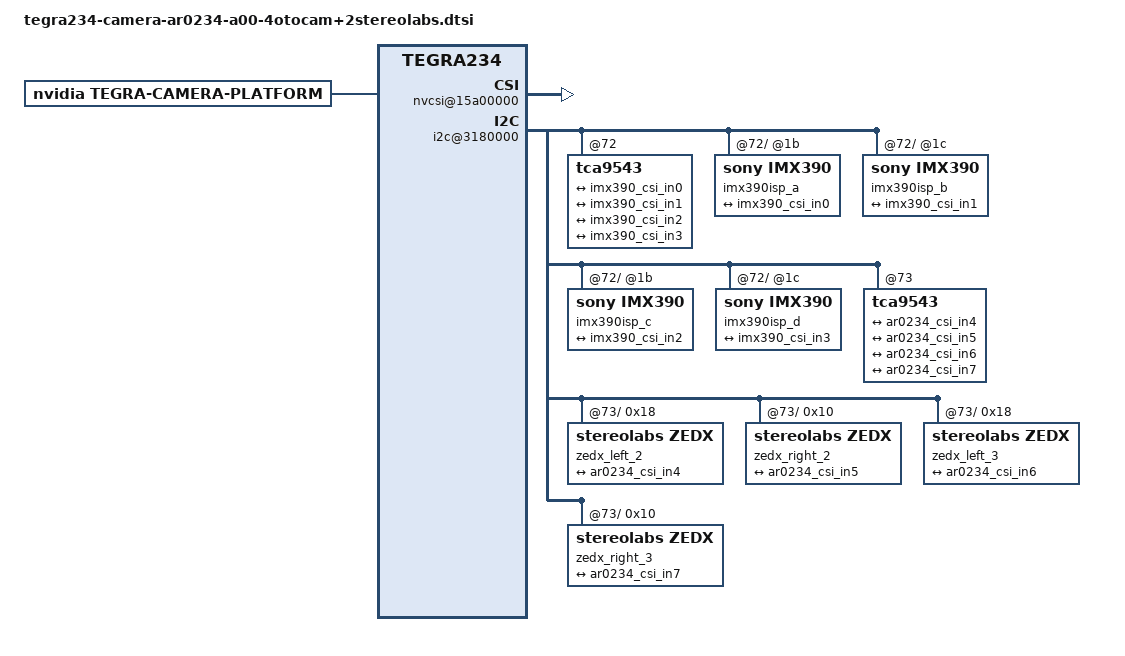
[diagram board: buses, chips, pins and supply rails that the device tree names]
/*
 * Copyright (c) 2018-2023, NVIDIA CORPORATION.  All rights reserved.
 *
 * This program is free software; you can redistribute it and/or modify
 * it under the terms of the GNU General Public License as published by
 * the Free Software Foundation; either version 2 of the License, or
 * (at your option) any later version.
 *
 * This program is distributed in the hope that it will be useful, but WITHOUT
 * ANY WARRANTY; without even the implied warranty of MERCHANTABILITY or
 * FITNESS FOR A PARTICULAR PURPOSE.  See the GNU General Public License for
 * more details.
 *
 * You should have received a copy of the GNU General Public License
 * along with this program.  If not, see <http://www.gnu.org/licenses/>.
 */

/ {
	tegra-capture-vi {
			status = "okay";
			num-channels = <8>;
			ports {
				#address-cells = <1>;
				#size-cells = <0>;
				status = "okay";
				port@0 {
					reg = <0>;
					imx390_vi_in0: endpoint {
						vc-id = <0>;
						port-index = <0>;
						bus-width = <4>;
						remote-endpoint = <&imx390_csi_out0>;
					};
				};
				port@1 {
					reg = <1>;
					imx390_vi_in1: endpoint {
						vc-id = <1>;
						port-index = <0>;
						bus-width = <4>;
						remote-endpoint = <&imx390_csi_out1>;
					};
				};
				port@2 {
					reg = <2>;
					imx390_vi_in2: endpoint {
						vc-id = <0>;
						port-index = <2>;
						bus-width = <4>;
						remote-endpoint = <&imx390_csi_out2>;
					};
				};
				port@3 {
					reg = <3>;
					imx390_vi_in3: endpoint {
						vc-id = <1>;
						port-index = <2>;
						bus-width = <4>;
						remote-endpoint = <&imx390_csi_out3>;
					};
				};
				port@4 {
					reg = <4>;
					ar0234_vi_in4: endpoint {
						status = "okay";
						vc-id = <0>;
						port-index = <4>;
						bus-width = <2>;
						remote-endpoint = <&ar0234_csi_out4>;
					};
				};
				port@5 {
					reg = <5>;
					ar0234_vi_in5: endpoint {
						status = "okay";
						vc-id = <1>;
						port-index = <4>;
						bus-width = <2>;
						remote-endpoint = <&ar0234_csi_out5>;
					};
				};
				port@6 {
					reg = <6>;
					ar0234_vi_in6: endpoint {
						status = "okay";
						vc-id = <0>;
						port-index = <5>;
						bus-width = <2>;
						remote-endpoint = <&ar0234_csi_out6>;
					};
				};
				port@7 {
					reg = <7>;
					ar0234_vi_in7: endpoint {
						status = "okay";
						vc-id = <1>;
						port-index = <5>;
						bus-width = <2>;
						remote-endpoint = <&ar0234_csi_out7>;
					};
				};
			};
		};

	host1x@13e00000 {
		nvcsi@15a00000 {
			status = "okay";
			num-channels = <8>;
			#address-cells = <1>;
			#size-cells = <0>;
			channel@0 {
				reg = <0>;
				ports {
					#address-cells = <1>;
					#size-cells = <0>;
					port@0 {
						reg = <0>;
						imx390_csi_in0: endpoint@0 {
							port-index = <0>;
							bus-width = <4>;
							remote-endpoint = <&imx390_out0>;
						};
					};
					port@1 {
						reg = <1>;
						imx390_csi_out0: endpoint@1 {
							remote-endpoint = <&imx390_vi_in0>;
						};
					};
				};
			};
			channel@1 {
				reg = <1>;
				ports {
					#address-cells = <1>;
					#size-cells = <0>;
					port@0 {
						reg = <0>;
						imx390_csi_in1: endpoint@2 {
							port-index = <0>;
							bus-width = <4>;
							remote-endpoint = <&imx390_out1>;
						};
					};
					port@1 {
						reg = <1>;
						imx390_csi_out1: endpoint@3 {
							remote-endpoint = <&imx390_vi_in1>;
						};
					};
				};
			};
			channel@2 {
				reg = <2>;
				ports {
					#address-cells = <1>;
					#size-cells = <0>;
					port@0 {
						reg = <0>;
						imx390_csi_in2: endpoint@4 {
							port-index = <2>;
							bus-width = <4>;
							remote-endpoint = <&imx390_out2>;
						};
					};
					port@1 {
						reg = <1>;
						imx390_csi_out2: endpoint@5 {
							remote-endpoint = <&imx390_vi_in2>;
						};
					};
				};
			};
			channel@3 {
				reg = <3>;
				ports {
					#address-cells = <1>;
					#size-cells = <0>;
					port@0 {
						reg = <0>;
						imx390_csi_in3: endpoint@6 {
							port-index = <2>;
							bus-width = <4>;
							remote-endpoint = <&imx390_out3>;
						};
					};
					port@1 {
						reg = <1>;
						imx390_csi_out3: endpoint@7 {
							remote-endpoint = <&imx390_vi_in3>;
						};
					};
				};
			};
			channel@4 {
				reg = <4>;
				ports {
				#address-cells = <1>;
				#size-cells = <0>;
					port@0 {
						reg = <0>;
						ar0234_csi_in4: endpoint@8 {
							status = "okay";
							port-index = <4>;
							bus-width = <2>;
							remote-endpoint = <&ar0234_ar0234_out4>;
						};
					};
					port@1 {
						reg = <1>;
						ar0234_csi_out4: endpoint@9 {
							status = "okay";
							remote-endpoint = <&ar0234_vi_in4>;
						};
					};
				};
			};
			channel@5 {
				reg = <5>;
				ports {
				#address-cells = <1>;
				#size-cells = <0>;
					port@0 {
						reg = <0>;
						ar0234_csi_in5: endpoint@10 {
						status = "okay";
						port-index = <4>;
						bus-width = <2>;
						remote-endpoint = <&ar0234_ar0234_out5>;
						};
					};
					port@1 {
						reg = <1>;
						ar0234_csi_out5: endpoint@11 {
						status = "okay";
						remote-endpoint = <&ar0234_vi_in5>;
						};
					};
				};
			};
			channel@6 {
				reg = <6>;
				ports {
					#address-cells = <1>;
					#size-cells = <0>;
					port@0 {
						reg = <0>;
						ar0234_csi_in6: endpoint@12 {
							status = "okay";
							port-index = <5>;
							bus-width = <2>;
							remote-endpoint = <&ar0234_ar0234_out6>;
						};
					};
					port@1 {
						reg = <1>;
						ar0234_csi_out6: endpoint@13 {
							status = "okay";
							remote-endpoint = <&ar0234_vi_in6>;
						};
					};
				};
			};
			channel@7 {
				reg = <7>;
				ports {
					#address-cells = <1>;
					#size-cells = <0>;
					port@0 {
						reg = <0>;
						ar0234_csi_in7: endpoint@14 {
							status = "okay";
							port-index = <5>;
							bus-width = <2>;
							remote-endpoint = <&ar0234_ar0234_out7>;
						};
					};
					port@1 {
						reg = <1>;
						ar0234_csi_out7: endpoint@15 {
							status = "okay";
							remote-endpoint = <&ar0234_vi_in7>;
						};
					};
				};
			};
		};
	};

	i2c@3180000 {
		tca9543@72 {
		i2c@0 {
		imx390isp_a@1b {
				compatible = "sony,imx390","nvidia,imx390isp";

				def-addr = <0x6d>;	

				/* Physical dimensions of sensor */
				physical_w = "15.0";
				physical_h = "12.5";

				sensor_model ="imx390isp";

				/* Defines number of frames to be dropped by driver internally after applying */
				/* sensor crop settings. Some sensors send corrupt frames after applying */
				/* crop co-ordinates */
				post_crop_frame_drop = "0";

				/* Convert Gain to unit of dB (decibel) befor passing to kernel driver */
				//use_decibel_gain = "true";	// FIX:?

				/* enable CID_SENSOR_MODE_ID for sensor modes selection */
				use_sensor_mode_id = "true";
				mode0 {
					mclk_khz = "24000";
					tegra_sinterface = "serial_a";
					vc_id = "0";
					num_lanes = "4";
					discontinuous_clk = "no";
					dpcm_enable = "false";
					cil_settletime = "0";
					mode_type = "yuv";
					pixel_phase = "uyvy";
					csi_pixel_bit_depth = "16";
					dynamic_pixel_bit_depth = "16";

					active_w = "1920";
					active_h = "1080";
					readout_orientation = "0";
					line_length = "2200";
					inherent_gain = "1";
					pix_clk_hz = "374000000";	
					//pix_clk_hz = "74250000";//test


					gain_factor = "10";
					min_gain_val = "0"; /* dB */
					max_gain_val = "300"; /* dB */
					step_gain_val = "3"; /* 0.3 */
					default_gain = "0";
					min_hdr_ratio = "1";
					max_hdr_ratio = "1";
					framerate_factor = "1000000";
					min_framerate = "30000000";
					max_framerate = "30000000";
					step_framerate = "1";
					default_framerate = "30000000";
					exposure_factor = "1000000";
					min_exp_time = "59"; /*us, 2 lines*/
					max_exp_time = "33333";
					step_exp_time = "1";
					default_exp_time = "33333";/* us */
					embedded_metadata_height = "0";
					
				};
				ports {
					#address-cells = <1>;
					#size-cells = <0>;
					port@0 {
						reg = <0>;
						imx390_out0: endpoint {
							vc-id = <0>;
							port-index = <0>;
							bus-width = <4>;
							remote-endpoint = <&imx390_csi_in0>;
						};
					};
				};
				gmsl-link {
					src-csi-port = "b";
					dst-csi-port = "a";
					serdes-csi-link = "a";
					csi-mode = "1x4";
					st-vc = <0>;
					vc-id = <0>;
					num-lanes = <4>;
					streams = "ued-u1","yuv8";	// FIX:*
					//streams = "ued-u1", "raw12";	// FIX:-
				};
			};


			imx390isp_b@1c{
				compatible = "sony,imx390","nvidia,imx390isp";

				def-addr = <0x6d>;	// FIX:+
				//reg = <0x1b>;	// FIX:-

				/* Physical dimensions of sensor */
				physical_w = "15.0";
				physical_h = "12.5";

				sensor_model ="imx390isp";

				/* Defines number of frames to be dropped by driver internally after applying */
				/* sensor crop settings. Some sensors send corrupt frames after applying */
				/* crop co-ordinates */
				post_crop_frame_drop = "0";

				/* Convert Gain to unit of dB (decibel) befor passing to kernel driver */
				//use_decibel_gain = "true";	// FIX:?

				/* enable CID_SENSOR_MODE_ID for sensor modes selection */
				use_sensor_mode_id = "true";
				mode0 {
					
					tegra_sinterface = "serial_a";
					vc_id = "1";
					mclk_khz = "24000";
					num_lanes = "4";
					discontinuous_clk = "no";
					dpcm_enable = "false";
					cil_settletime = "0";
					mode_type = "yuv";
					pixel_phase = "uyvy";
					csi_pixel_bit_depth = "16";
					dynamic_pixel_bit_depth = "16";
					
					active_w = "1920";
					active_h = "1080";
					readout_orientation = "0";
					line_length = "2200";
					inherent_gain = "1";
					pix_clk_hz = "374000000";	// FIX:* 74250000

					gain_factor = "10";
					min_gain_val = "0"; /* dB */
					max_gain_val = "300"; /* dB */
					step_gain_val = "3"; /* 0.3 */
					default_gain = "0";
					min_hdr_ratio = "1";
					max_hdr_ratio = "1";
					framerate_factor = "1000000";
					min_framerate = "30000000";
					max_framerate = "30000000";
					step_framerate = "1";
					default_framerate = "30000000";
					exposure_factor = "1000000";
					min_exp_time = "59"; /*us, 2 lines*/
					max_exp_time = "33333";
					step_exp_time = "1";
					default_exp_time = "33333";/* us */
					embedded_metadata_height = "0";
				};
				ports {
					#address-cells = <1>;
					#size-cells = <0>;
					port@0 {
						reg = <0>;
						imx390_out1: endpoint {
							vc-id = <1>;
							port-index = <0>;
							bus-width = <4>;
							remote-endpoint = <&imx390_csi_in1>;
						};
					};
				};
				gmsl-link {
					src-csi-port = "b";
					dst-csi-port = "a";
					serdes-csi-link = "b";
					csi-mode = "1x4";
					st-vc = <0>;
					vc-id = <1>;
					num-lanes = <4>;
					streams = "ued-u1","yuv8";	// FIX:*
				};
			};
			
			};

		     i2c@1 {
			imx390isp_c@1b {
				compatible = "sony,imx390","nvidia,imx390isp";

				def-addr = <0x6d>;	// FIX:+
				//reg = <0x1b>;	// FIX:-

				/* Physical dimensions of sensor */
				physical_w = "15.0";
				physical_h = "12.5";

				sensor_model ="imx390isp";

				/* Defines number of frames to be dropped by driver internally after applying */
				/* sensor crop settings. Some sensors send corrupt frames after applying */
				/* crop co-ordinates */
				post_crop_frame_drop = "0";

				/* Convert Gain to unit of dB (decibel) befor passing to kernel driver */
				//use_decibel_gain = "true";	// FIX:?

				/* enable CID_SENSOR_MODE_ID for sensor modes selection */
				use_sensor_mode_id = "true";

				mode0 {
					tegra_sinterface = "serial_c";
					vc_id = "0";
					mclk_khz = "24000";
					num_lanes = "4";
					discontinuous_clk = "no";
					dpcm_enable = "false";
					cil_settletime = "0";
					mode_type = "yuv";
					pixel_phase = "uyvy";
					csi_pixel_bit_depth = "16";
					dynamic_pixel_bit_depth = "16";
					
					active_w = "1920";
					active_h = "1080";
					readout_orientation = "0";
					line_length = "2200";
					inherent_gain = "1";
					pix_clk_hz = "374000000";	// FIX:* 74250000
					//serdes_pix_clk_hz = "200000000";	// FIX:-

					gain_factor = "10";
					min_gain_val = "0"; /* dB */
					max_gain_val = "300"; /* dB */
					step_gain_val = "3"; /* 0.3 */
					default_gain = "0";
					min_hdr_ratio = "1";
					max_hdr_ratio = "1";
					framerate_factor = "1000000";
					min_framerate = "30000000";
					max_framerate = "30000000";
					step_framerate = "1";
					default_framerate = "30000000";
					exposure_factor = "1000000";
					min_exp_time = "59"; /*us, 2 lines*/
					max_exp_time = "33333";
					step_exp_time = "1";
					default_exp_time = "33333";/* us */
					embedded_metadata_height = "0";
				};
				ports {
					#address-cells = <1>;
					#size-cells = <0>;
					port@0 {
						reg = <0>;
						imx390_out2: endpoint {
							vc-id = <0>;
							port-index = <2>;
							bus-width = <4>;
							remote-endpoint = <&imx390_csi_in2>;
						};
					};
				};
				gmsl-link {
					src-csi-port = "b";
					dst-csi-port = "a";
					serdes-csi-link = "a";
					csi-mode = "1x4";
					st-vc = <0>;
					vc-id = <0>;
					num-lanes = <4>;
					streams = "yuv8","ued-u1";
				};
			};

			imx390isp_d@1c {
				compatible = "sony,imx390","nvidia,imx390isp";

				def-addr = <0x6d>;	// FIX:+
				//reg = <0x1b>;	// FIX:-

				/* Physical dimensions of sensor */
				physical_w = "15.0";
				physical_h = "12.5";

				sensor_model ="imx390isp";

				/* Defines number of frames to be dropped by driver internally after applying */
				/* sensor crop settings. Some sensors send corrupt frames after applying */
				/* crop co-ordinates */
				post_crop_frame_drop = "0";

				/* Convert Gain to unit of dB (decibel) befor passing to kernel driver */
				//use_decibel_gain = "true";	// FIX:?

				/* enable CID_SENSOR_MODE_ID for sensor modes selection */
				use_sensor_mode_id = "true";
				mode0 {
					tegra_sinterface = "serial_c";
					vc_id = "1";
					mclk_khz = "24000";
					num_lanes = "4";
					discontinuous_clk = "no";
					dpcm_enable = "false";
					cil_settletime = "0";
					mode_type = "yuv";
					pixel_phase = "uyvy";
					csi_pixel_bit_depth = "16";
					dynamic_pixel_bit_depth = "16";
					
					active_w = "1920";
					active_h = "1080";
					readout_orientation = "0";
					line_length = "2200";
					inherent_gain = "1";
					pix_clk_hz = "374000000";	// FIX:* 74250000
					//serdes_pix_clk_hz = "200000000";	// FIX:-

					gain_factor = "10";
					min_gain_val = "0"; /* dB */
					max_gain_val = "300"; /* dB */
					step_gain_val = "3"; /* 0.3 */
					default_gain = "0";
					min_hdr_ratio = "1";
					max_hdr_ratio = "1";
					framerate_factor = "1000000";
					min_framerate = "30000000";
					max_framerate = "30000000";
					step_framerate = "1";
					default_framerate = "30000000";
					exposure_factor = "1000000";
					min_exp_time = "59"; /*us, 2 lines*/
					max_exp_time = "33333";
					step_exp_time = "1";
					default_exp_time = "33333";/* us */
					embedded_metadata_height = "0";
				};
				ports {
					#address-cells = <1>;
					#size-cells = <0>;
					port@0 {
						reg = <0>;
						imx390_out3: endpoint {
							vc-id = <1>;
							port-index = <2>;
							bus-width = <4>;
							remote-endpoint = <&imx390_csi_in3>;
						};
					};
				};
				gmsl-link {
					src-csi-port = "b";
					dst-csi-port = "a";
					serdes-csi-link = "b";
					csi-mode = "1x4";
					st-vc = <0>;
					vc-id = <1>;
					num-lanes = <4>;
					streams = "yuv8","ued-u1";
				};
			
			};
			};
			};

		tca9543@73 {
			i2c@0 {

				/* ZEDX 2 left camera sensor */
				zedx_left_2@18 {
					compatible = "stereolabs,zedx";
					devnode = "video4";
					reg = <0x18>;

					/* Physical dimensions of sensor */
					physical_w = "15.0";
					physical_h = "12.5";

					vertical-flip = "true";
					sensor_model ="zedx";
					sync_sensor = "ZED_CAM3";
					sync_sensor_index = <1>;
					post_crop_frame_drop = "0";
					use_sensor_mode_id = "true";

					mode0 {/*mode ZEDX_MODE_1920X1200_60FPS*/
						mclk_khz = "24000";
						num_lanes = "2";
						tegra_sinterface = "serial_e";
						vc_id = "0";
						discontinuous_clk = "no";
						dpcm_enable = "false";
						cil_settletime = "0";
						dynamic_pixel_bit_depth = "10";
						csi_pixel_bit_depth = "10";
						mode_type = "bayer";
						pixel_phase = "grbg";
						active_w = "1920";
						active_h = "1200";
						readout_orientation = "0";
						line_length = "6248";
						inherent_gain = "1";
						mclk_multiplier = "3.01";
						pix_clk_hz = "229500000";
						serdes_pix_clk_hz = "299000000";
						gain_factor = "100";
						min_gain_val = "100"; /* dB */
						max_gain_val = "1600"; /* dB */
						step_gain_val = "1"; /* 0.1 */
						default_gain = "100";
						min_hdr_ratio = "1";
						max_hdr_ratio = "1";
						framerate_factor = "1000000";
						min_framerate = "30000000";
						max_framerate = "60000000";
						step_framerate = "30000000";
						default_framerate = "30000000";
						exposure_factor = "1000000";
						min_exp_time = "28"; /*us, 2 lines*/
						max_exp_time = "33000";
						step_exp_time = "1";
						default_exp_time = "13000";/* us */
						embedded_metadata_height = "0";
					};

					mode1 {/*mode ZEDX_MODE_960X600_120FPS*/
						mclk_khz = "24000";
						num_lanes = "2";
						tegra_sinterface = "serial_e";
						vc_id = "0";
						discontinuous_clk = "no";
						dpcm_enable = "false";
						cil_settletime = "0";
						dynamic_pixel_bit_depth = "10";
						csi_pixel_bit_depth = "10";
						mode_type = "bayer";
						pixel_phase = "grbg";
						active_w = "960";
						active_h = "600";
						readout_orientation = "0";
						line_length = "3124";
						inherent_gain = "1";
						mclk_multiplier = "3.01";
						pix_clk_hz = "229500000";
						serdes_pix_clk_hz = "299000000";
						gain_factor = "100";
						min_gain_val = "100"; /* dB */
						max_gain_val = "1600"; /* dB */
						step_gain_val = "1"; /* 0.1 */
						default_gain = "100";
						min_hdr_ratio = "1";
						max_hdr_ratio = "1";
						framerate_factor = "1000000";
						min_framerate = "60000000";
						max_framerate = "120000000";
						step_framerate = "10000000";
						default_framerate = "120000000";
						exposure_factor = "1000000";
						min_exp_time = "28"; /*us, 2 lines*/
						max_exp_time = "16000";
						step_exp_time = "1";
						default_exp_time = "8000";/* us */
						embedded_metadata_height = "0";
					};

					mode2 {/*mode ZEDX_MODE_1920X1080_CROP_60FPS*/
						mclk_khz = "24000";
						num_lanes = "2";
						tegra_sinterface = "serial_e";
						vc_id = "0";
						discontinuous_clk = "no";
						dpcm_enable = "false";
						cil_settletime = "0";
						dynamic_pixel_bit_depth = "10";
						csi_pixel_bit_depth = "10";
						mode_type = "bayer";
						pixel_phase = "grbg";
						active_w = "1920";
						active_h = "1080";
						readout_orientation = "0";
						line_length = "6248";
						inherent_gain = "1";
						mclk_multiplier = "3.01";
						//pix_clk_hz = "134400000";
						pix_clk_hz = "229500000";
						serdes_pix_clk_hz = "299000000";
						gain_factor = "100";
						min_gain_val = "100"; /* dB */
						max_gain_val = "1600"; /* dB */
						step_gain_val = "1"; /* 0.1 */
						default_gain = "100";
						min_hdr_ratio = "1";
						max_hdr_ratio = "1";
						framerate_factor = "1000000";
						min_framerate = "30000000";
						max_framerate = "60000000";
						step_framerate = "30000000";
						default_framerate = "30000000";
						exposure_factor = "1000000";
						min_exp_time = "28"; /*us, 2 lines*/
						max_exp_time = "33000";
						step_exp_time = "1";
						default_exp_time = "13000";/* us */
						embedded_metadata_height = "0";
					};


					ports {
						#address-cells = <1>;
						#size-cells = <0>;
						port@0 {
							reg = <0>;
							ar0234_ar0234_out4: endpoint {
								vc-id = <0>;
								port-index = <4>;
								bus-width = <2>;
								remote-endpoint = <&ar0234_csi_in4>;
							};
						};
					};
				};

				/* ZEDX 2 right camera sensor */
				zedx_right_2@10 {
					compatible = "stereolabs,zedx";
					devnode = "video5";
					reg = <0x10>;
					physical_w = "15.0";
					physical_h = "12.5";
					sensor_model ="zedx";
					sync_sensor = "ZED_CAM3";
					sync_sensor_index = <2>;
					post_crop_frame_drop = "0";
					use_sensor_mode_id = "true";

					mode0 {/*mode ZEDX_MODE_1920X1200_60FPS*/
						mclk_khz = "24000";
						num_lanes = "2";
						tegra_sinterface = "serial_e";
						vc_id = "1";
						discontinuous_clk = "no";
						dpcm_enable = "false";
						cil_settletime = "0";
						dynamic_pixel_bit_depth = "10";
						csi_pixel_bit_depth = "10";
						mode_type = "bayer";
						pixel_phase = "grbg";
						active_w = "1920";
						active_h = "1200";
						readout_orientation = "0";
						line_length = "6248";
						inherent_gain = "1";
						mclk_multiplier = "3.01";
						pix_clk_hz = "229500000";
						serdes_pix_clk_hz = "299000000";
						gain_factor = "100";
						min_gain_val = "100"; /* dB */
						max_gain_val = "1600"; /* dB */
						step_gain_val = "1"; /* 0.1 */
						default_gain = "100";
						min_hdr_ratio = "1";
						max_hdr_ratio = "1";
						framerate_factor = "1000000";
						min_framerate = "30000000";
						max_framerate = "60000000";
						step_framerate = "30000000";
						default_framerate = "30000000";
						exposure_factor = "1000000";
						min_exp_time = "28"; /*us, 2 lines*/
						max_exp_time = "33000";
						step_exp_time = "1";
						default_exp_time = "13000";/* us */
						embedded_metadata_height = "0";
					};

					mode1 {/*mode ZEDX_MODE_960x600_120FPS*/
						mclk_khz = "24000";
						num_lanes = "2";
						tegra_sinterface = "serial_e";
						vc_id = "1";
						discontinuous_clk = "no";
						dpcm_enable = "false";
						cil_settletime = "0";
						dynamic_pixel_bit_depth = "10";
						csi_pixel_bit_depth = "10";
						mode_type = "bayer";
						pixel_phase = "grbg";
						active_w = "960";
						active_h = "600";
						readout_orientation = "0";
						line_length = "3124";
						inherent_gain = "1";
						mclk_multiplier = "3.01";
						pix_clk_hz = "229500000";
						serdes_pix_clk_hz = "299000000";
						gain_factor = "100";
						min_gain_val = "100"; /* dB */
						max_gain_val = "1600"; /* dB */
						step_gain_val = "1"; /* 0.1 */
						default_gain = "100";
						min_hdr_ratio = "1";
						max_hdr_ratio = "1";
						framerate_factor = "1000000";
						min_framerate = "60000000";
						max_framerate = "120000000";
						step_framerate = "10000000";
						default_framerate = "120000000";
						exposure_factor = "1000000";
						min_exp_time = "28"; /*us, 2 lines*/
						max_exp_time = "16000";
						step_exp_time = "1";
						default_exp_time = "8000";/* us */
						embedded_metadata_height = "0";
					};

					mode2 {/*mode ZEDX_MODE_1920X1080_CROP_60FPS*/
						mclk_khz = "24000";
						num_lanes = "2";
						tegra_sinterface = "serial_e";
						vc_id = "1";
						discontinuous_clk = "no";
						dpcm_enable = "false";
						cil_settletime = "0";
						dynamic_pixel_bit_depth = "10";
						csi_pixel_bit_depth = "10";
						mode_type = "bayer";
						pixel_phase = "grbg";
						active_w = "1920";
						active_h = "1080";
						readout_orientation = "0";
						line_length = "6248";
						inherent_gain = "1";
						mclk_multiplier = "3.01";
						//pix_clk_hz = "134400000";
						pix_clk_hz = "229500000";
						serdes_pix_clk_hz = "299000000";
						gain_factor = "100";
						min_gain_val = "100"; /* dB */
						max_gain_val = "1600"; /* dB */
						step_gain_val = "1"; /* 0.1 */
						default_gain = "100";
						min_hdr_ratio = "1";
						max_hdr_ratio = "1";
						framerate_factor = "1000000";
						min_framerate = "30000000";
						max_framerate = "60000000";
						step_framerate = "30000000";
						default_framerate = "30000000";
						exposure_factor = "1000000";
						min_exp_time = "28"; /*us, 2 lines*/
						max_exp_time = "33000";
						step_exp_time = "1";
						default_exp_time = "13000";/* us */
						embedded_metadata_height = "0";
					};

					ports {
						#address-cells = <1>;
						#size-cells = <0>;
						port@0 {
							reg = <0>;
							ar0234_ar0234_out5: endpoint {
								vc-id = <1>;
								port-index = <4>;
								bus-width = <2>;
								remote-endpoint = <&ar0234_csi_in5>;
							};
						};
					};
				};
			};
			i2c@1 {

				/* ZEDX 3 left camera sensor */
				zedx_left_3@18 {
					compatible = "stereolabs,zedx";
					devnode = "video6";
					reg = <0x18>;
					physical_w = "15.0";
					physical_h = "12.5";
					sensor_model ="zedx";
					sync_sensor = "ZED_CAM4";
					sync_sensor_index = <1>;
					post_crop_frame_drop = "0";
					use_sensor_mode_id = "true";

					mode0 {/*mode ZEDX_MODE_1920X1200_60FPS*/
						mclk_khz = "24000";
						num_lanes = "2";
						tegra_sinterface = "serial_g";
						vc_id = "0";
						discontinuous_clk = "no";
						dpcm_enable = "false";
						cil_settletime = "0";
						dynamic_pixel_bit_depth = "10";
						csi_pixel_bit_depth = "10";
						mode_type = "bayer";
						pixel_phase = "grbg";
						active_w = "1920";
						active_h = "1200";
						readout_orientation = "0";
						line_length = "6248";
						inherent_gain = "1";
						mclk_multiplier = "3.01";
						pix_clk_hz = "229500000";
						serdes_pix_clk_hz = "299000000";
						gain_factor = "100";
						min_gain_val = "100"; /* dB */
						max_gain_val = "1600"; /* dB */
						step_gain_val = "1"; /* 0.1 */
						default_gain = "100";
						min_hdr_ratio = "1";
						max_hdr_ratio = "1";
						framerate_factor = "1000000";
						min_framerate = "30000000";
						max_framerate = "60000000";
						step_framerate = "30000000";
						default_framerate = "30000000";
						exposure_factor = "1000000";
						min_exp_time = "28"; /*us, 2 lines*/
						max_exp_time = "33000";
						step_exp_time = "1";
						default_exp_time = "13000";/* us */
						embedded_metadata_height = "0";
					};

					mode1 {/*mode ZEDX_MODE_960x600_120FPS*/
						mclk_khz = "24000";
						num_lanes = "2";
						tegra_sinterface = "serial_g";
						vc_id = "0";
						discontinuous_clk = "no";
						dpcm_enable = "false";
						cil_settletime = "0";
						dynamic_pixel_bit_depth = "10";
						csi_pixel_bit_depth = "10";
						mode_type = "bayer";
						pixel_phase = "grbg";
						active_w = "960";
						active_h = "600";
						readout_orientation = "0";
						line_length = "3124";
						inherent_gain = "1";
						mclk_multiplier = "3.01";
						pix_clk_hz = "229500000";
						serdes_pix_clk_hz = "299000000";
						gain_factor = "100";
						min_gain_val = "100"; /* dB */
						max_gain_val = "1600"; /* dB */
						step_gain_val = "1"; /* 0.1 */
						default_gain = "100";
						min_hdr_ratio = "1";
						max_hdr_ratio = "1";
						framerate_factor = "1000000";
						min_framerate = "60000000";
						max_framerate = "120000000";
						step_framerate = "10000000";
						default_framerate = "120000000";
						exposure_factor = "1000000";
						min_exp_time = "28"; /*us, 2 lines*/
						max_exp_time = "16000";
						step_exp_time = "1";
						default_exp_time = "8000";/* us */
						embedded_metadata_height = "0";
					};

					mode2 {/*mode ZEDX_MODE_1920X1080_CROP_60FPS*/
						mclk_khz = "24000";
						num_lanes = "2";
						tegra_sinterface = "serial_g";
						vc_id = "0";
						discontinuous_clk = "no";
						dpcm_enable = "false";
						cil_settletime = "0";
						dynamic_pixel_bit_depth = "10";
						csi_pixel_bit_depth = "10";
						mode_type = "bayer";
						pixel_phase = "grbg";
						active_w = "1920";
						active_h = "1080";
						readout_orientation = "0";
						line_length = "6248";
						inherent_gain = "1";
						mclk_multiplier = "3.01";
						//pix_clk_hz = "134400000";
						pix_clk_hz = "229500000";
						serdes_pix_clk_hz = "299000000";
						gain_factor = "100";
						min_gain_val = "100"; /* dB */
						max_gain_val = "1600"; /* dB */
						step_gain_val = "1"; /* 0.1 */
						default_gain = "100";
						min_hdr_ratio = "1";
						max_hdr_ratio = "1";
						framerate_factor = "1000000";
						min_framerate = "30000000";
						max_framerate = "60000000";
						step_framerate = "30000000";
						default_framerate = "30000000";
						exposure_factor = "1000000";
						min_exp_time = "28"; /*us, 2 lines*/
						max_exp_time = "33000";
						step_exp_time = "1";
						default_exp_time = "13000";/* us */
						embedded_metadata_height = "0";
					};

					ports {
						#address-cells = <1>;
						#size-cells = <0>;
						port@0 {
							reg = <0>;
							ar0234_ar0234_out6: endpoint {
								vc-id = <0>;
								port-index = <5>;
								bus-width = <2>;
								remote-endpoint = <&ar0234_csi_in6>;
								};
							};
						};
					};

				/* ZEDX 3 right camera sensor */
				zedx_right_3@10 {
					compatible = "stereolabs,zedx";
					devnode = "video7";
					reg = <0x10>;
					/* Physical dimensions of sensor */
					physical_w = "15.0";
					physical_h = "12.5";
					sensor_model ="zedx";
					sync_sensor = "ZED_CAM4";
					sync_sensor_index = <2>;
					post_crop_frame_drop = "0";
					use_sensor_mode_id = "true";
					mode0 {/*mode ZEDX_MODE_1920X1200_60FPS*/
						mclk_khz = "24000";
						num_lanes = "2";
						tegra_sinterface = "serial_g";
						vc_id = "1";
						discontinuous_clk = "no";
						dpcm_enable = "false";
						cil_settletime = "0";
						dynamic_pixel_bit_depth = "10";
						csi_pixel_bit_depth = "10";
						mode_type = "bayer";
						pixel_phase = "grbg";
						active_w = "1920";
						active_h = "1200";
						readout_orientation = "0";
						line_length = "6248";
						inherent_gain = "1";
						mclk_multiplier = "3.01";
						pix_clk_hz = "229500000";
						serdes_pix_clk_hz = "299000000";
						gain_factor = "100";
						min_gain_val = "100"; /* dB */
						max_gain_val = "1600"; /* dB */
						step_gain_val = "1"; /* 0.1 */
						default_gain = "100";
						min_hdr_ratio = "1";
						max_hdr_ratio = "1";
						framerate_factor = "1000000";
						min_framerate = "30000000";
						max_framerate = "60000000";
						step_framerate = "30000000";
						default_framerate = "30000000";
						exposure_factor = "1000000";
						min_exp_time = "28"; /*us, 2 lines*/
						max_exp_time = "33000";
						step_exp_time = "1";
						default_exp_time = "13000";/* us */
						embedded_metadata_height = "0";
					};

					mode1 {/*mode ZEDX_MODE_960x600_120FPS*/
						mclk_khz = "24000";
						num_lanes = "2";
						tegra_sinterface = "serial_g";
						vc_id = "1";
						discontinuous_clk = "no";
						dpcm_enable = "false";
						cil_settletime = "0";
						dynamic_pixel_bit_depth = "10";
						csi_pixel_bit_depth = "10";
						mode_type = "bayer";
						pixel_phase = "grbg";
						active_w = "960";
						active_h = "600";
						readout_orientation = "0";
						line_length = "3124";
						inherent_gain = "1";
						mclk_multiplier = "3.01";
						pix_clk_hz = "229500000";
						serdes_pix_clk_hz = "299000000";
						gain_factor = "100";
						min_gain_val = "100"; /* dB */
						max_gain_val = "1600"; /* dB */
						step_gain_val = "1"; /* 0.1 */
						default_gain = "100";
						min_hdr_ratio = "1";
						max_hdr_ratio = "1";
						framerate_factor = "1000000";
						min_framerate = "60000000";
						max_framerate = "120000000";
						step_framerate = "10000000";
						default_framerate = "120000000";
						exposure_factor = "1000000";
						min_exp_time = "28"; /*us, 2 lines*/
						max_exp_time = "16000";
						step_exp_time = "1";
						default_exp_time = "8000";/* us */
						embedded_metadata_height = "0";
					};

					mode2 {/*mode ZEDX_MODE_1920X1080_CROP_60FPS*/
						mclk_khz = "24000";
						num_lanes = "2";
						tegra_sinterface = "serial_g";
						vc_id = "1";
						discontinuous_clk = "no";
						dpcm_enable = "false";
						cil_settletime = "0";
						dynamic_pixel_bit_depth = "10";
						csi_pixel_bit_depth = "10";
						mode_type = "bayer";
						pixel_phase = "grbg";
						active_w = "1920";
						active_h = "1080";
						readout_orientation = "0";
						line_length = "6248";
						inherent_gain = "1";
						mclk_multiplier = "3.01";
						//pix_clk_hz = "134400000";
						pix_clk_hz = "229500000";
						serdes_pix_clk_hz = "299000000";
						gain_factor = "100";
						min_gain_val = "100"; /* dB */
						max_gain_val = "1600"; /* dB */
						step_gain_val = "1"; /* 0.1 */
						default_gain = "100";
						min_hdr_ratio = "1";
						max_hdr_ratio = "1";
						framerate_factor = "1000000";
						min_framerate = "30000000";
						max_framerate = "60000000";
						step_framerate = "30000000";
						default_framerate = "30000000";
						exposure_factor = "1000000";
						min_exp_time = "28"; /*us, 2 lines*/
						max_exp_time = "33000";
						step_exp_time = "1";
						default_exp_time = "13000";/* us */
						embedded_metadata_height = "0";
					};

					ports {
						#address-cells = <1>;
						#size-cells = <0>;
						port@0 {
							reg = <0>;
							ar0234_ar0234_out7: endpoint {
								vc-id = <1>;
								port-index = <5>;
								bus-width = <2>;
								remote-endpoint = <&ar0234_csi_in7>;
								};
							};
						};
					};
				};
		};
	};
};
/ {

	tegra-camera-platform {
		compatible = "nvidia, tegra-camera-platform";
		/**
		* Physical settings to calculate max ISO BW
		*
		* num_csi_lanes = <>;
		* Total number of CSI lanes when all cameras are active
		*
		* max_lane_speed = <>;
		* Max lane speed in Kbit/s
		*
		* min_bits_per_pixel = <>;
		* Min bits per pixel
		*
		* vi_peak_byte_per_pixel = <>;
		* Max byte per pixel for the VI ISO case
		*
		* vi_bw_margin_pct = <>;
		* Vi bandwidth margin in percentage
		*
		* max_pixel_rate = <>;
		* Max pixel rate in Kpixel/s for the ISP ISO case
		*
		* isp_peak_byte_per_pixel = <>;
		* Max byte per pixel for the ISP ISO case
		*
		* isp_bw_margin_pct = <>;
		* Isp bandwidth margin in percentage
		*/
		num_csi_lanes = <8>;
		max_lane_speed = <4000000>;
		min_bits_per_pixel = <10>;
		vi_peak_byte_per_pixel = <2>;
		vi_bw_margin_pct = <25>;
		isp_peak_byte_per_pixel = <5>;
		isp_bw_margin_pct = <25>;

		/**
		 * The general guideline for naming badge_info contains 3 parts, and is as follows,
		 * The first part is the camera_board_id for the module; if the module is in a FFD
		 * platform, then use the platform name for this part.
		 * The second part contains the position of the module, ex. "rear" or "front".
		 * The third part contains the last 6 characters of a part number which is found
		 * in the module's specsheet from the vender.
		 */
		modules {
			module0 {
				badge = "imx390_rear";
				position = "rear";
				orientation = "1";
				drivernode0 {
					/* Declare PCL support driver (classically known as guid)  */
					pcl_id = "v4l2_sensor";
					/* Driver v4l2 device name */
					devname = "imx390isp 30-001b";
					/* Declare the device-tree hierarchy to driver instance */
					proc-device-tree = "/proc/device-tree/i2c@3180000/tca9543@72/i2c@0/imx390isp_a@1b";
				};
			};
			module1 {
				badge = "imx390_front";
				position = "front";
				orientation = "1";
				drivernode0 {
					/* Declare PCL support driver (classically known as guid)  */
					pcl_id = "v4l2_sensor";
					/* Driver v4l2 device name */
					devname = "imx390isp 30-001c";
					/* Declare the device-tree hierarchy to driver instance */
					proc-device-tree = "/proc/device-tree/i2c@3180000/tca9543@72/i2c@0/imx390isp_b@1c";
				};
			};
			module2 {
				badge = "imx390_left";
				position = "topright";	// topleft
				orientation = "1";
				drivernode0 {
					/* Declare PCL support driver (classically known as guid)  */
					pcl_id = "v4l2_sensor";
					/* Driver v4l2 device name */
					devname = "imx390isp 31-001b";
					/* Declare the device-tree hierarchy to driver instance */
					proc-device-tree = "/proc/device-tree/i2c@3180000/tca9543@72/i2c@1/imx390isp_c@1b";
				};
			};
			module3 {
				badge = "imx390_right";
				position = "bottomright";	// topright
				orientation = "1";
				drivernode0 {
					/* Declare PCL support driver (classically known as guid)  */
					pcl_id = "v4l2_sensor";
					/* Driver v4l2 device name */
					devname = "imx390isp 31-001c";
					/* Declare the device-tree hierarchy to driver instance */
					proc-device-tree = "/proc/device-tree/i2c@3180000/tca9543@72/i2c@1/imx390isp_d@1c";
				};
			};
			module4 {
				badge = "zedx_ar0234";
				position = "topleft";
				orientation = "1";
				drivernode0 {
					status = "okay";
					/* Declare PCL support driver (classically known as guid)  */
					pcl_id = "v4l2_sensor";
					/* Driver v4l2 device name */
					devname = "zedx 32-0018";
					/* Declare the device-tree hierarchy to driver instance */
					proc-device-tree = "/proc/device-tree/i2c@3180000/tca9543@73/i2c@0/zedx_left_2@18";
				};
			};
			module5 {
				badge = "zedx_ar0234";
				position = "topright";
				orientation = "1";
				drivernode0 {
				status = "okay";
					/* Declare PCL support driver (classically known as guid)  */
					pcl_id = "v4l2_sensor";
					/* Driver v4l2 device name */
					devname = "zedx 32-0010";
					/* Declare the device-tree hierarchy to driver instance */
					proc-device-tree = "/proc/device-tree/i2c@3180000/tca9543@73/i2c@0/zedx_right_2@10";
				};
			};
			module6 {
				badge = "zedx_ar0234";
				position = "rear";
				orientation = "1";
				drivernode0 {
					status = "okay";
					/* Declare PCL support driver (classically known as guid)  */
					pcl_id = "v4l2_sensor";
					/* Driver v4l2 device name */
					 devname = "zedx 33-0018";
					proc-device-tree = "/proc/device-tree/i2c@3180000/tca9543@73/i2c@1/zedx_left_3@18";
				};
			};
			module7 {
				badge = "zedx_ar0234";
				position = "front";
				orientation = "1";
				drivernode0 {
					status = "okay";
					 /* Declare PCL support driver (classically known as guid)  */
					pcl_id = "v4l2_sensor";
					/* Driver v4l2 device name */
					devname = "zedx 33-0010";
					/* Declare the device-tree hierarchy to driver instance */
					proc-device-tree = "/proc/device-tree/i2c@3180000/tca9543@73/i2c@1/zedx_right_3@10";
				};
			};
		};
	};
};
